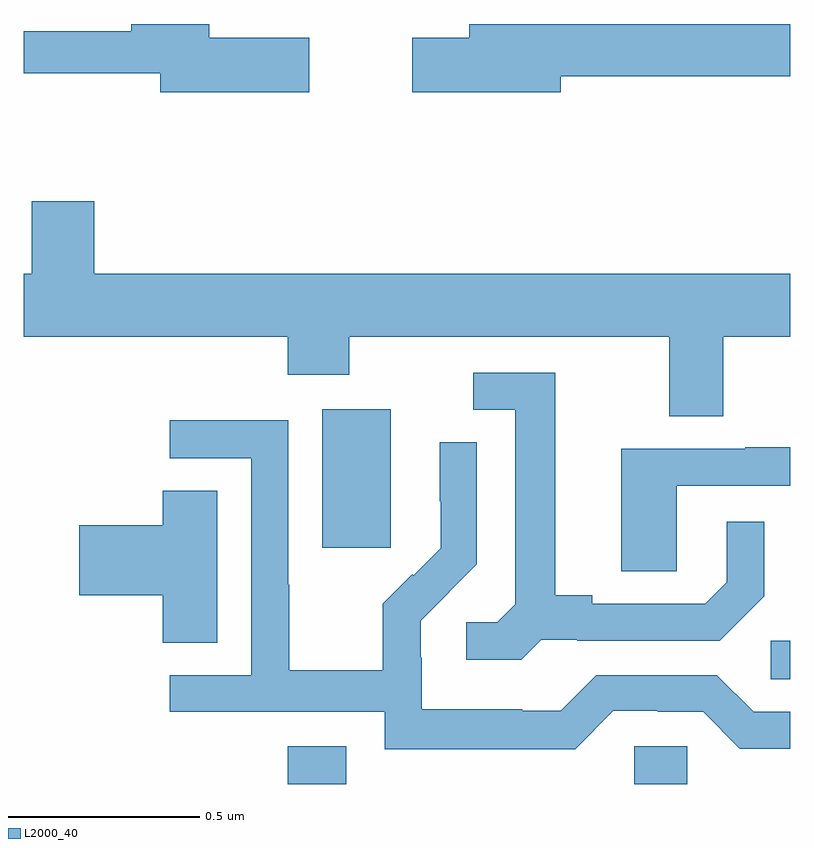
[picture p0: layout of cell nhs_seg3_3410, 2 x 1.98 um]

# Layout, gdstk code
import gdstk
lib = gdstk.Library(unit=1e-6, precision=1e-09)
def R(c, l, rs):  # rectangles x0, y0, x1, y1
    for r in rs: c.add(gdstk.rectangle(r[:2], r[2:], *l))
def P(c, l, *ps):  # polygons
    for p in ps: c.add(gdstk.Polygon(p, *l))
L2000_40 = (2000, 40)

nhs_seg3_3410 = lib.new_cell('nhs_seg3_3410')
R(nhs_seg3_3410, L2000_40, [(153.689,714.4,153.841,714.499), (154.593,714.4,154.731,714.498), (154.95,714.673,155,714.774), (153.779,715.017,153.958,715.378)])
P(nhs_seg3_3410, L2000_40, [(154.402,716.248),(155,716.248),(155,716.384),(154.163,716.384),(154.163,716.348),(154.014,716.348),(154.014,716.206),(154.402,716.206)],
  [(153.745,716.348),(153.484,716.348),(153.484,716.384),(153.28,716.384),(153.28,716.365),(153,716.365),(153,716.256),(153.356,716.256),(153.356,716.206),(153.745,716.206)],
  [(154.825,715.568),(155,715.568),(155,715.732),(153.184,715.732),(153.184,715.921),(153.02,715.921),(153.02,715.732),(153,715.732),(153,715.568),(153.689,715.568),(153.689,715.469),(153.849,715.469),(153.849,715.568),(154.685,715.568),(154.685,715.36),(154.825,715.36)],
  [(154.35,714.777),(154.444,714.777),(154.444,714.774),(154.816,714.774),(154.932,714.89),(154.932,715.084),(154.835,715.084),(154.835,714.927),(154.778,714.87),(154.483,714.87),(154.483,714.893),(154.387,714.893),(154.387,715.473),(154.173,715.473),(154.173,715.377),(154.283,715.377),(154.283,714.869),(154.236,714.822),(154.155,714.822),(154.155,714.725),(154.298,714.725)],
  [(154.539,714.591),(154.655,714.591),(154.655,714.588),(154.773,714.588),(154.869,714.492),(155,714.492),(155,714.588),(154.905,714.588),(154.809,714.684),(154.494,714.684),(154.401,714.591),(154.301,714.591),(154.301,714.595),(154.038,714.595),(154.038,714.729),(154.036,714.729),(154.036,714.826),(154.11,714.9),(154.109,714.901),(154.182,714.974),(154.182,715.292),(154.086,715.292),(154.086,715.138),(154.088,715.138),(154.088,715.016),(154.017,714.945),(154.014,714.948),(153.937,714.871),(153.937,714.697),(153.693,714.697),(153.693,714.92),(153.69,714.92),(153.69,715.35),(153.381,715.35),(153.381,715.251),(153.594,715.251),(153.594,714.684),(153.381,714.684),(153.381,714.588),(153.942,714.588),(153.942,714.491),(154.439,714.491)],
  [(154.704,715.179),(155,715.179),(155,715.279),(154.883,715.279),(154.883,715.275),(154.559,715.275),(154.559,714.955),(154.704,714.955)],
  [(153.505,715.166),(153.362,715.166),(153.362,715.076),(153.144,715.076),(153.144,714.893),(153.362,714.893),(153.362,714.769),(153.505,714.769)])

lib.write_gds('nhs_seg3_3410.gds')
